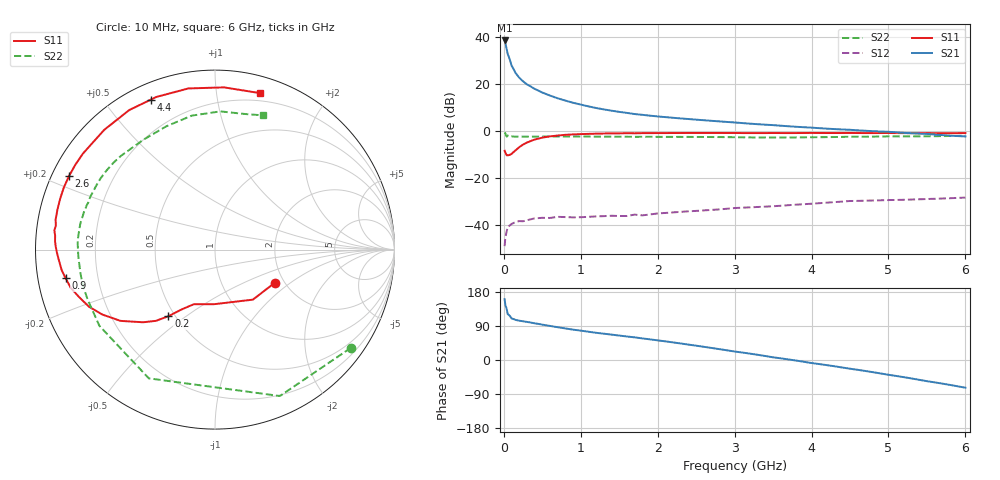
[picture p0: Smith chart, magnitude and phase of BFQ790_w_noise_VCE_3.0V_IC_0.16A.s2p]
! (c) 2015  Infineon Technologies AG, Munich
! Infineon Technologies  Discrete & RF Semiconductors
! BFQ790
! VCE =  3.0 V,  IC = 0.16 A
! Common Emitter S-Parameters:  May 2015
# GHz  S  MA  R  50
!  f  S11  S21  S12  S22
! GHz  MAG  ANG  MAG  ANG  MAG  ANG  MAG  ANG
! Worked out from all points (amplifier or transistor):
!   77 points, 10 MHz to 6 GHz, reference 50 ohm
!   highest |S21| = 38.7 dB at 10 MHz (marker M1)
!   |S21| within 3 dB of that: start of sweep to 32.36 MHz
!   unconditionally stable (mu >= 1): 265.3 MHz to 376.5 MHz; 1 GHz to end of sweep
!   at 130 MHz: K = 0.70, MSG = 32.7 dB, |S12| = -39.2 dB
!   at 2.2 GHz: K = 1.25, MAG = 17.2 dB, |S12| = -34.7 dB
!   at 6 GHz: K = 1.14, MAG = 10.8 dB, |S12| = -28.4 dB
!   lowest NFmin = 3.03 dB at 1.5 GHz
!   S11 on the Smith chart (normalised r, x): 10 MHz: 1.78, -0.77; 200 MHz: 0.46, -0.43; 900 MHz: 0.08, -0.09; 2.6 GHz: 0.05, +0.24; 4.4 GHz: 0.07, +0.66; 6 GHz: 0.13, +1.32
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0.01  0.3803 -29.3  85.77 160.6  0.0035 67.5  0.9341 -35.9
0.02  0.3496 -52.9  74.22 144.7  0.0054 55.2  0.8923 -66.1
0.05  0.3041 -90.8  44.27 121.1  0.009 28.4  0.8066 -117.2
0.1  0.3265 -111.2  24.93 109.6  0.0104 21.3  0.7714 -146.6
0.15  0.385 -119.5  17.55 105.9  0.0114 18.5  0.7624 -158.5
0.2  0.4532 -125.0  13.79 103.7  0.012 18.4  0.7626 -164.9
0.25  0.5149 -129.6  11.52 102.2  0.0119 18.0  0.7611 -169.1
0.3  0.5686 -134.6  9.927 100.5  0.0125 15.5  0.7604 -172.1
0.4  0.6598 -143.0  7.95 96.8  0.0137 16.1  0.7623 -176.8
0.5  0.7242 -150.0  6.639 93.3  0.0141 10.7  0.7637 179.9
0.6  0.7715 -155.7  5.723 89.9  0.014 12.4  0.7659 177.2
0.7  0.803 -160.9  5.001 86.5  0.0148 11.2  0.7656 174.9
0.9  0.8476 -169.2  4.015 80.1  0.0144 7.7  0.7642 171.3
1.1  0.8708 -175.8  3.363 74.6  0.0148 10.8  0.7632 167.9
1.5  0.894 175.0  2.567 64.5  0.0154 10.3  0.7568 162.2
2.1  0.9064 163.7  1.984 49.2  0.0179 10.4  0.7516 153.5
2.6  0.9108 153.3  1.702 34.8  0.0203 8.8  0.7479 144.0
3.1  0.9068 141.8  1.481 19.7  0.0232 1.5  0.7354 132.7
4.1  0.9098 119.5  1.153 -10.7  0.0289 -11.8  0.7398 109.2
4.4  0.9089 113.1  1.081 -19.8  0.0313 -17.5  0.7513 102.1
5.1  0.9056 96.9  0.94 -42.1  0.0339 -31.4  0.7692 85.7
6  0.9071 74.0  0.768 -73.2  0.0381 -51.8  0.7947 70.2
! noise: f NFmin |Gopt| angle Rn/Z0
0.45  4.92  0.45  139  0.47
0.9  3.45  0.58  167  0.16
1.5  3.03  0.69  -173  0.08
1.8  3.11  0.7  -167  0.1
2.6  3.41  0.73  -152  0.23
3.5  3.96  0.84  -136  0.51
